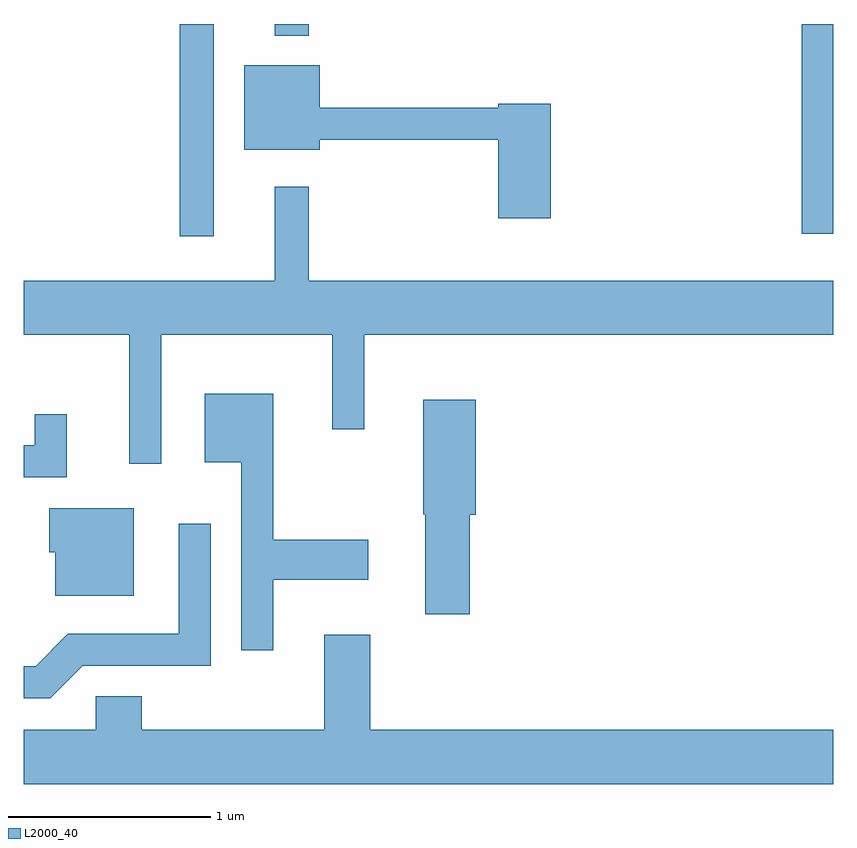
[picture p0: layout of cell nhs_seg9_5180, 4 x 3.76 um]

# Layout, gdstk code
import gdstk
lib = gdstk.Library(unit=1e-6, precision=1e-09)
def R(c, l, rs):  # rectangles x0, y0, x1, y1
    for r in rs: c.add(gdstk.rectangle(r[:2], r[2:], *l))
def P(c, l, *ps):  # polygons
    for p in ps: c.add(gdstk.Polygon(p, *l))
L2000_40 = (2000, 40)

nhs_seg9_5180 = lib.new_cell('nhs_seg9_5180')
R(nhs_seg9_5180, L2000_40, [(338.381,2023.383,338.549,2024.432), (341.456,2023.396,341.611,2024.432), (338.851,2024.373,339.019,2024.432)])
P(nhs_seg9_5180, L2000_40, [(340.214,2024.039),(339.956,2024.039),(339.956,2024.019),(339.074,2024.019),(339.074,2024.229),(338.701,2024.229),(338.701,2023.811),(339.074,2023.811),(339.074,2023.861),(339.956,2023.861),(339.956,2023.471),(340.214,2023.471)],
  [(338.289,2022.896),(339.136,2022.896),(339.136,2022.428),(339.294,2022.428),(339.294,2022.896),(341.611,2022.896),(341.611,2023.164),(339.019,2023.164),(339.019,2023.628),(338.851,2023.628),(338.851,2023.164),(337.611,2023.164),(337.611,2022.896),(338.131,2022.896),(338.131,2022.258),(338.289,2022.258)],
  [(338.844,2021.686),(339.314,2021.686),(339.314,2021.884),(338.844,2021.884),(338.844,2022.604),(338.506,2022.604),(338.506,2022.266),(338.686,2022.266),(338.686,2021.338),(338.844,2021.338)],
  [(339.814,2022.006),(339.844,2022.006),(339.844,2022.574),(339.586,2022.574),(339.586,2022.01),(339.596,2022.01),(339.596,2021.516),(339.814,2021.516)],
  [(337.824,2022.503),(337.666,2022.503),(337.666,2022.349),(337.611,2022.349),(337.611,2022.191),(337.824,2022.191)],
  [(338.154,2022.039),(337.736,2022.039),(337.736,2021.821),(337.766,2021.821),(337.766,2021.606),(338.154,2021.606)],
  [(337.902,2021.261),(338.534,2021.261),(338.534,2021.963),(338.376,2021.963),(338.376,2021.419),(337.829,2021.419),(337.669,2021.259),(337.611,2021.259),(337.611,2021.101),(337.742,2021.101)],
  [(341.611,2020.944),(339.324,2020.944),(339.324,2021.414),(339.096,2021.414),(339.096,2020.944),(338.194,2020.944),(338.194,2021.109),(337.966,2021.109),(337.966,2020.944),(337.611,2020.944),(337.611,2020.676),(341.611,2020.676)])

lib.write_gds('nhs_seg9_5180.gds')
